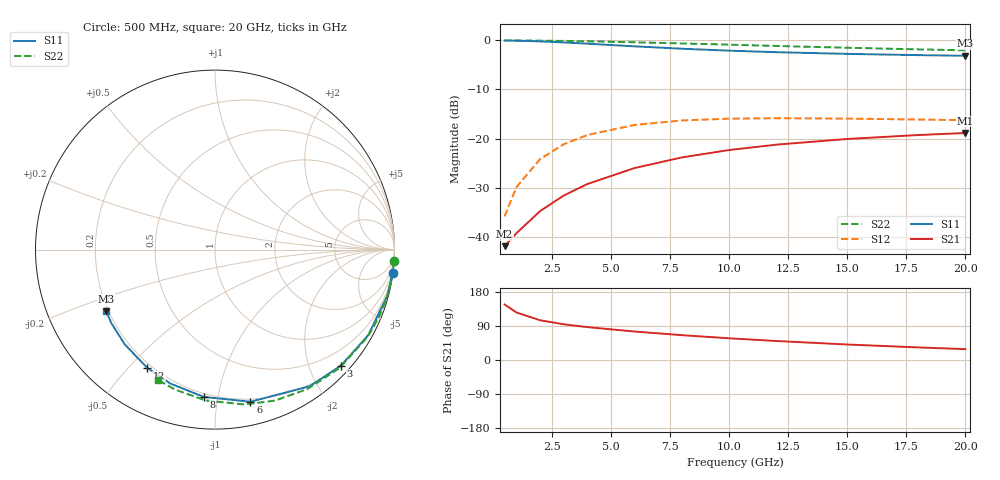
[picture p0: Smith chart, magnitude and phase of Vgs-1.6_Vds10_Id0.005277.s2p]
# Hz S RI R 50
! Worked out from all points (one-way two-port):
!   12 points, 500 MHz to 20 GHz, reference 50 ohm
!   highest |S21| = -18.87 dB at 20 GHz (marker M1); lowest = -41.9 dB at 500 MHz (marker M2)
!   lowest |S11| = -3.1 dB at 20 GHz (marker M3), VSWR 5.61, Z = 9.51 - j12.7 ohm
!   |S11| at or under -10 dB: nowhere
!   |S22| runs from -2.0 to 0.0 dB; largest |S21 - S12| = 0.12
!   S11 on the Smith chart (normalised r, x): 500 MHz: 0, -15; 3 GHz: 0.18, -2.55; 6 GHz: 0.18, -1.24; 8 GHz: 0.18, -0.91; 12 GHz: 0.18, -0.56; 20 GHz: 0.19, -0.25
5e8  0.9901 -0.1292  -0.00667 0.00442  0.00153 0.0161  0.9971 -0.0658
1e9  0.9611 -0.2541  -0.00628 0.00884  0.006 0.0314  0.9896 -0.131
2e9  0.8538 -0.4766  -0.00469 0.0176  0.0224 0.0575  0.9604 -0.2578
3e9  0.701 -0.6471  -0.00196 0.0262  0.0451 0.0749  0.9135 -0.3766
4e9  0.5282 -0.761  0.00195 0.0343  0.0698 0.0832  0.8514 -0.4847
6e9  0.1975 -0.8477  0.0129 0.0484  0.1129 0.0787  0.6945 -0.6597
8e9  -0.0628 -0.8206  0.0266 0.0584  0.1407 0.0598  0.5147 -0.7771
1e10  -0.2489 -0.746  0.0413 0.0643  0.1548 0.0382  0.3338 -0.8412
1.2e10  -0.3786 -0.6576  0.0556 0.0665  0.1601 0.0188  0.1649 -0.8629
1.5e10  -0.5032 -0.5276  0.0748 0.0648  0.1596 -0.00368  -0.0527 -0.8405
1.8e10  -0.5763 -0.4117  0.0909 0.0595  0.1551 -0.0194  -0.2242 -0.7792
2e10  -0.6072 -0.3429  0.0999 0.0547  0.1515 -0.0272  -0.3156 -0.727
